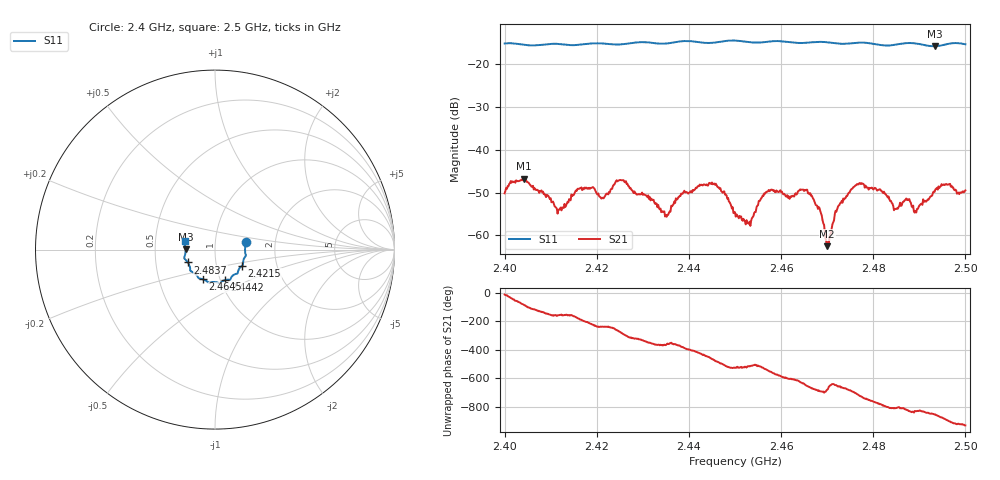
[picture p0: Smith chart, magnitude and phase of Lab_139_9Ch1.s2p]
# Hz S RI R 50
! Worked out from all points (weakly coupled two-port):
!   601 points, 2.4 GHz to 2.5 GHz, reference 50 ohm
!   highest |S21| = -46.77 dB at 2.4042 GHz (marker M1); lowest = -62.5 dB at 2.47 GHz (marker M2)
!   lowest |S11| = -15.7 dB at 2.4933 GHz (marker M3), VSWR 1.39, Z = 35.9 + j0.0988 ohm
!   |S11| at or under -10 dB: start of sweep to end of sweep
!   S12 and S22 are empty: the file has one direction only
!   S11 on the Smith chart (normalised r, x): 2.4 GHz: 1.41, +0.12; 2.4215 GHz: 1.33, -0.25; 2.4442 GHz: 1.05, -0.37; 2.4645 GHz: 0.83, -0.29; 2.4837 GHz: 0.73, -0.11; 2.5 GHz: 0.71, +0.07
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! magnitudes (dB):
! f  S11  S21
! 2.4 GHz  -15.1  -50.2
! 2.4042 GHz  -15.4  -46.8
! 2.4118 GHz  -15.2  -54.0
! 2.4167 GHz  -15.3  -48.8
! 2.4215 GHz  -15.1  -51.3
! 2.4253 GHz  -15.3  -47.1
! 2.4333 GHz  -15.1  -52.9
! 2.4353 GHz  -15.1  -55.2
! 2.4442 GHz  -15.0  -48.3
! 2.45 GHz  -14.4  -54.6
! 2.4528 GHz  -14.7  -57.1
! 2.4568 GHz  -14.7  -49.8
! 2.4645 GHz  -15.0  -49.3
! 2.4667 GHz  -14.8  -50.7
! 2.47 GHz  -14.8  -62.5
! 2.4723 GHz  -15.1  -53.3
! 2.4762 GHz  -15.0  -48.3
! 2.4833 GHz  -15.6  -50.9
! 2.4837 GHz  -15.5  -52.0
! 2.4893 GHz  -15.1  -54.7
! 2.4933 GHz  -15.7  -49.8
! 2.5 GHz  -15.3  -49.5
